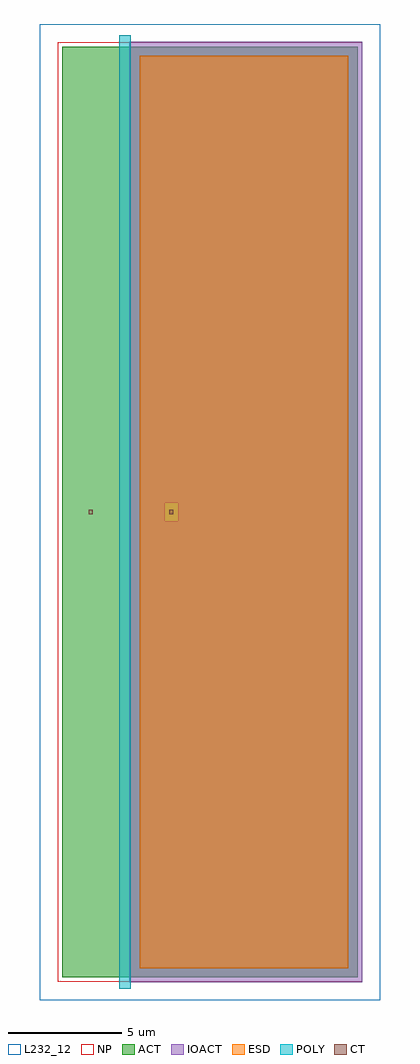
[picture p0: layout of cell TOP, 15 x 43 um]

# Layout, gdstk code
import gdstk
lib = gdstk.Library(unit=1e-6, precision=1e-09)
def R(c, l, rs):  # rectangles x0, y0, x1, y1
    for r in rs: c.add(gdstk.rectangle(r[:2], r[2:], *l))
ACT = (2, 1)
POLY = (41, 1)
NP = (52, 1)
ESD = (55, 1)
IOACT = (71, 1)
CT = (72, 1)
L232_12 = (232, 12)

top = lib.new_cell('TOP')
R(top, ACT, [(0,0,13,41)])
R(top, POLY, [(2.5,-0.5,3,41.5)])
R(top, NP, [(-0.2,-0.2,13.2,41.2)])
R(top, ESD, [(3.4,0.4,12.6,40.6)])
R(top, IOACT, [(2.95,-0.21,13.21,20.1), (2.95,20.1,4.5,20.9), (5.1,20.1,13.21,20.9), (2.95,20.9,13.21,41.21)])
R(top, CT, [(1.16,20.41,1.34,20.59), (4.71,20.41,4.89,20.59)])
R(top, L232_12, [(-1,-1,14,42)])

lib.write_gds('TOP.gds')
